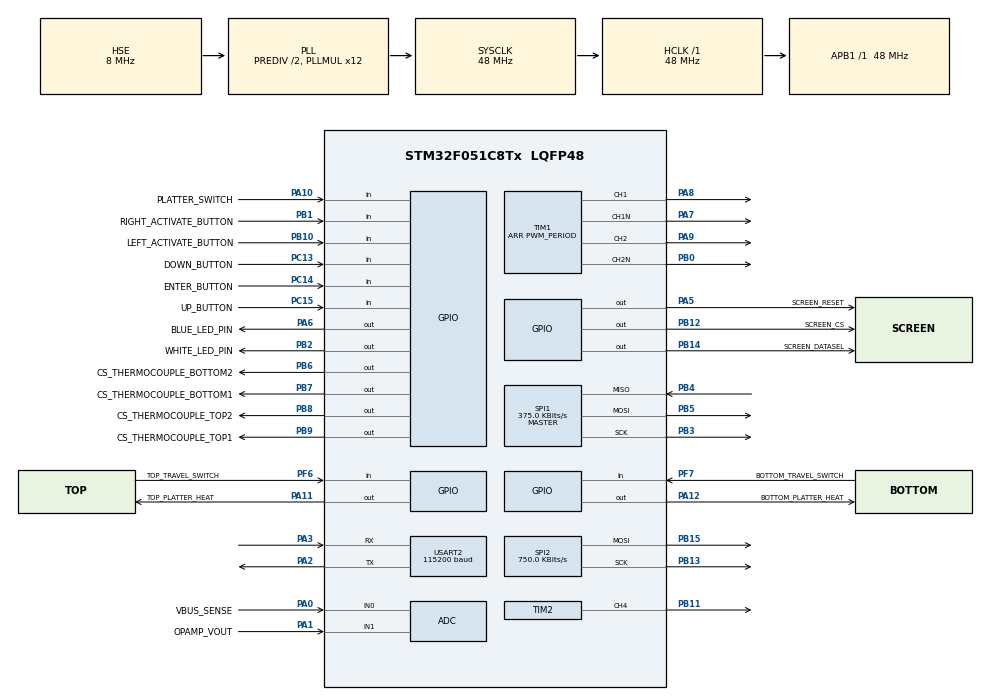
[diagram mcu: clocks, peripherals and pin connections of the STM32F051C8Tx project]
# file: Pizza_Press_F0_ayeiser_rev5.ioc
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ADC.ClockPrescaler=ADC_CLOCK_SYNC_PCLK_DIV4
ADC.DMAContinuousRequests=ENABLE
ADC.DiscontinuousConvMode=DISABLE
ADC.ExternalTrigConv=ADC_EXTERNALTRIGCONV_T1_TRGO
ADC.Overrun=ADC_OVR_DATA_OVERWRITTEN
ADC.SamplingTime=ADC_SAMPLETIME_13CYCLES_5
Dma.ADC.0.Direction=DMA_PERIPH_TO_MEMORY
Dma.ADC.0.Instance=DMA1_Channel1
Dma.ADC.0.MemDataAlignment=DMA_MDATAALIGN_HALFWORD
Dma.ADC.0.MemInc=DMA_MINC_ENABLE
Dma.ADC.0.Mode=DMA_CIRCULAR
Dma.ADC.0.PeriphDataAlignment=DMA_PDATAALIGN_HALFWORD
Dma.ADC.0.PeriphInc=DMA_PINC_DISABLE
Dma.ADC.0.Priority=DMA_PRIORITY_LOW
Dma.Request0=ADC
Dma.Request1=SPI2_TX
Dma.SPI2_TX.1.Direction=DMA_MEMORY_TO_PERIPH
Dma.SPI2_TX.1.Instance=DMA1_Channel5
Dma.SPI2_TX.1.MemDataAlignment=DMA_MDATAALIGN_BYTE
Dma.SPI2_TX.1.MemInc=DMA_MINC_ENABLE
Dma.SPI2_TX.1.Mode=DMA_NORMAL
Dma.SPI2_TX.1.PeriphDataAlignment=DMA_PDATAALIGN_BYTE
Dma.SPI2_TX.1.PeriphInc=DMA_PINC_DISABLE
Dma.SPI2_TX.1.Priority=DMA_PRIORITY_LOW
IWDG.Reload=1500
IWDG.Window=1500
Mcu.Family=STM32F0
Mcu.Name=STM32F051C8Tx
Mcu.Package=LQFP48
Mcu.UserConstants=BUZZER_PERIOD,(CLOCK_FREQ / BUZZER_FREQ);CLOCK_FREQ,48000000;DEAD_TIME,25;PWM_FREQ,1000;PWM_PERIOD,(CLOCK_FREQ / (2*PWM_FREQ));BUZZER_FREQ,2400
NVIC.ADC1_COMP_IRQn=true\:0\:0\:false\:false\:true\:true\:true\:true
NVIC.DMA1_Channel1_IRQn=true\:0\:0\:false\:false\:true\:false\:true\:true
NVIC.DMA1_Channel4_5_IRQn=true\:0\:0\:false\:false\:true\:false\:true\:true
NVIC.SPI1_IRQn=true\:0\:0\:false\:false\:true\:true\:true\:true
NVIC.SPI2_IRQn=true\:0\:0\:false\:false\:true\:true\:true\:true
NVIC.TIM1_BRK_UP_TRG_COM_IRQn=true\:0\:0\:false\:false\:true\:true\:true\:true
NVIC.USART2_IRQn=true\:0\:0\:false\:false\:true\:true\:true\:true
PA0.GPIO_Label=VBUS_SENSE
PA0.Mode=IN0
PA0.Signal=ADC_IN0
PA1.GPIO_Label=OPAMP_VOUT
PA1.Mode=IN1
PA1.Signal=ADC_IN1
PA10.GPIO_Label=PLATTER_SWITCH
PA10.Signal=GPIO_Input
PA11.GPIO_Label=TOP_PLATTER_HEAT
PA11.Signal=GPIO_Output
PA12.GPIO_Label=BOTTOM_PLATTER_HEAT
PA12.Signal=GPIO_Output
PA13.Mode=Serial_Wire
PA13.Signal=SYS_SWDIO
PA14.Mode=Serial_Wire
PA14.Signal=SYS_SWCLK
PA2.Mode=Asynchronous
PA2.Signal=USART2_TX
PA3.Mode=Asynchronous
PA3.Signal=USART2_RX
PA5.GPIO_Label=SCREEN_RESET
PA5.Signal=GPIO_Output
PA6.GPIO_Label=BLUE_LED_PIN
PA6.Signal=GPIO_Output
PA7.Mode=PWM Generation1 CH1 CH1N
PA7.Signal=TIM1_CH1N
PA8.Signal=S_TIM1_CH1
PA9.Signal=S_TIM1_CH2
PB0.Mode=PWM Generation2 CH2 CH2N
PB0.Signal=TIM1_CH2N
PB1.GPIO_Label=RIGHT_ACTIVATE_BUTTON
PB1.Signal=GPIO_Input
PB10.GPIO_Label=LEFT_ACTIVATE_BUTTON
PB10.Signal=GPIO_Input
PB11.Signal=S_TIM2_CH4
PB12.GPIO_Label=SCREEN_CS
PB12.Signal=GPIO_Output
PB13.Mode=TX_Only_Simplex_Unidirect_Master
PB13.Signal=SPI2_SCK
PB14.GPIO_Label=SCREEN_DATASEL
PB14.Signal=GPIO_Output
PB15.Mode=TX_Only_Simplex_Unidirect_Master
PB15.Signal=SPI2_MOSI
PB2.GPIO_Label=WHITE_LED_PIN
PB2.Signal=GPIO_Output
PB3.Mode=Full_Duplex_Master
PB3.Signal=SPI1_SCK
PB4.Mode=Full_Duplex_Master
PB4.Signal=SPI1_MISO
PB5.Mode=Full_Duplex_Master
PB5.Signal=SPI1_MOSI
PB6.GPIO_Label=CS_THERMOCOUPLE_BOTTOM2
PB6.Signal=GPIO_Output
PB7.GPIO_Label=CS_THERMOCOUPLE_BOTTOM1
PB7.Signal=GPIO_Output
PB8.GPIO_Label=CS_THERMOCOUPLE_TOP2
PB8.Signal=GPIO_Output
PB9.GPIO_Label=CS_THERMOCOUPLE_TOP1
PB9.Signal=GPIO_Output
PC13.GPIO_Label=DOWN_BUTTON
PC13.Signal=GPIO_Input
PC14-OSC32_IN.GPIO_Label=ENTER_BUTTON
PC14-OSC32_IN.Signal=GPIO_Input
PC15-OSC32_OUT.GPIO_Label=UP_BUTTON
PC15-OSC32_OUT.Signal=GPIO_Input
PF0-OSC_IN.Mode=HSE-External-Oscillator
PF0-OSC_IN.Signal=RCC_OSC_IN
PF1-OSC_OUT.Mode=HSE-External-Oscillator
PF1-OSC_OUT.Signal=RCC_OSC_OUT
PF6.GPIO_Label=TOP_TRAVEL_SWITCH
PF6.Signal=GPIO_Input
PF7.GPIO_Label=BOTTOM_TRAVEL_SWITCH
PF7.Signal=GPIO_Input
ProjectManager.HeapSize=0x200
ProjectManager.StackSize=0x400
ProjectManager.TargetToolchain=STM32CubeIDE
RCC.AHBFreq_Value=48000000
RCC.APB1Freq_Value=48000000
RCC.APB1TimFreq_Value=48000000
RCC.HCLKFreq_Value=48000000
RCC.PLLDivider=RCC_PREDIV_DIV2
RCC.PLLMUL=RCC_PLL_MUL12
RCC.PLLSourceVirtual=RCC_PLLSOURCE_HSE
RCC.RTCClockSelection=RCC_RTCCLKSOURCE_HSE_DIV32
RCC.SYSCLKFreq_VALUE=48000000
RCC.SYSCLKSource=RCC_SYSCLKSOURCE_PLLCLK
RTC.AsynchPrediv=124
RTC.SynchPrediv=1999
SH.S_TIM1_CH1.0=TIM1_CH1,PWM Generation1 CH1 CH1N
SH.S_TIM1_CH2.0=TIM1_CH2,PWM Generation2 CH2 CH2N
SH.S_TIM2_CH4.0=TIM2_CH4,PWM Generation4 CH4
SPI1.BaudRatePrescaler=SPI_BAUDRATEPRESCALER_128
SPI1.CalculateBaudRate=375.0 KBits/s
SPI1.DataSize=SPI_DATASIZE_8BIT
SPI1.Direction=SPI_DIRECTION_2LINES
SPI1.Mode=SPI_MODE_MASTER
SPI1.VirtualType=VM_MASTER
SPI2.BaudRatePrescaler=SPI_BAUDRATEPRESCALER_64
SPI2.CalculateBaudRate=750.0 KBits/s
SPI2.DataSize=SPI_DATASIZE_8BIT
SPI2.Direction=SPI_DIRECTION_2LINES
SPI2.Mode=SPI_MODE_MASTER
SPI2.VirtualType=VM_MASTER
TIM1.Channel-PWM\ Generation1\ CH1\ CH1N=TIM_CHANNEL_1
TIM1.Channel-PWM\ Generation2\ CH2\ CH2N=TIM_CHANNEL_2
TIM1.CounterMode=TIM_COUNTERMODE_CENTERALIGNED2
TIM1.DeadTime=DEAD_TIME
TIM1.OCMode_PWM-PWM\ Generation1\ CH1\ CH1N=TIM_OCMODE_PWM1
TIM1.OCMode_PWM-PWM\ Generation2\ CH2\ CH2N=TIM_OCMODE_PWM1
TIM1.Period=PWM_PERIOD
TIM1.RepetitionCounter=1
TIM1.TIM_MasterOutputTrigger=TIM_TRGO_UPDATE
TIM2.AutoReloadPreload=TIM_AUTORELOAD_PRELOAD_ENABLE
TIM2.Channel-PWM\ Generation4\ CH4=TIM_CHANNEL_4
TIM2.Period=BUZZER_PERIOD
TIM2.Pulse-PWM\ Generation4\ CH4=BUZZER_PERIOD/2
USART2.BaudRate=115200
USART2.VirtualMode-Asynchronous=VM_ASYNC
VP_IWDG_VS_IWDG.Mode=IWDG_Activate
VP_RTC_VS_RTC_Activate.Mode=RTC_Enabled
board=custom

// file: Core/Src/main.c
/* USER CODE BEGIN Header */
/**
  ******************************************************************************
  * @file           : main.c
  * @brief          : Main program body
  ******************************************************************************
  * @attention
  *
  * Copyright (c) 2022 STMicroelectronics.
  * All rights reserved.
  *
  * This software is licensed under terms that can be found in the LICENSE file
  * in the root directory of this software component.
  * If no LICENSE file comes with this software, it is provided AS-IS.
  *
  ******************************************************************************
  */
/* USER CODE END Header */
#include "main.h"

/* USER CODE BEGIN Includes */

// #include "uart_serial.h"
#include "control.h"
#include "menu.h"
#include "structs.h"

/* USER CODE END Includes */

/* USER CODE BEGIN PD */
#define DEBUG
/* USER CODE END PD */

ADC_HandleTypeDef hadc;
DMA_HandleTypeDef hdma_adc;

IWDG_HandleTypeDef hiwdg;

RTC_HandleTypeDef hrtc;

SPI_HandleTypeDef hspi1;
SPI_HandleTypeDef hspi2;
DMA_HandleTypeDef hdma_spi2_tx;

TIM_HandleTypeDef htim1;
TIM_HandleTypeDef htim2;

UART_HandleTypeDef huart2;

/* USER CODE BEGIN PV */

#define TX_BUF_LEN 256
char uart_tx_buf[TX_BUF_LEN];
uint32_t menu_last_used=0;
bool menu_awake = 0;
uint32_t last_button_press=0;

float shunt_current;
float max_current;
uint16_t adc_output;

/* USER CODE END PV */

void SystemClock_Config(void);
static void MX_GPIO_Init(void);
static void MX_DMA_Init(void);
static void MX_ADC_Init(void);
static void MX_TIM1_Init(void);
static void MX_SPI1_Init(void);
static void MX_IWDG_Init(void);
static void MX_USART2_UART_Init(void);
static void MX_RTC_Init(void);
static void MX_SPI2_Init(void);
static void MX_TIM2_Init(void);

int main(void)
{

  /* MCU Configuration--------------------------------------------------------*/

  /* Reset of all peripherals, Initializes the Flash interface and the Systick. */
  HAL_Init();

  /* Configure the system clock */
  SystemClock_Config();

  /* Initialize all configured peripherals */
  MX_GPIO_Init();
  MX_DMA_Init();
  MX_TIM1_Init();
  MX_SPI1_Init();
  MX_USART2_UART_Init();
  MX_RTC_Init();
  MX_SPI2_Init();
  MX_TIM2_Init();
  /* USER CODE BEGIN 2 */
  MX_ADC_Init();

  HAL_Delay(100);
  HAL_ADCEx_Calibration_Start(&hadc);
  HAL_Delay(100);

  // __HAL_RCC_PWR_CLK_ENABLE(); // duplicated in HAL_Init
  HAL_PWR_EnableBkUpAccess(); //enable RTC backup regs

  HAL_TIM_PWM_Start(&htim1, TIM_CHANNEL_1);
  HAL_TIMEx_PWMN_Start(&htim1, TIM_CHANNEL_1);
  HAL_TIM_PWM_Start(&htim1, TIM_CHANNEL_2);
  HAL_TIMEx_PWMN_Start(&htim1, TIM_CHANNEL_2);

  HAL_TIM_Base_Start_IT(&htim1);
  HAL_ADC_Start_DMA(&hadc, (uint32_t*) &adc_output, 1);

  // pc_uart_init(&huart1);

  HAL_Delay(100);

  press.press_setpoint.enable = true;
  press.thermal_setpoint.enable = true;

  init_menus();

  __WRITE_SCREEN_DC(0);
  __WRITE_SCREEN_CS(0);
  __WRITE_SCREEN_RESET(0);
  __WRITE_WHITE_LED(1);
  HAL_Delay(200);
  __WRITE_SCREEN_RESET(1);
  HAL_Delay(200);

  restore_settings(&(press.config));
  config_to_setpoints(&press);

  SSD1306_InitScreen(&hspi2);
  current_menu->display(current_menu);
  // Set button key press flags to low
  menu_up_button.rising_edge_flag = 0;
  menu_down_button.rising_edge_flag = 0;
  menu_enter_button.rising_edge_flag = 0;

  MX_IWDG_Init();

  PressMode last_press_mode = PRESS_READY;
  /* USER CODE END 2 */

  /* Infinite loop */
  while (1)
  {

    /* USER CODE BEGIN 3 */
	  if (menu_up_button.rising_edge_flag) {
		  menu_up_button.rising_edge_flag = 0;
		  current_menu = menu_up(current_menu);
		  menu_last_used = ticks;
		  last_button_press = ticks;
		  menu_awake = 1;
	  }

	  if (menu_down_button.rising_edge_flag) {
		  menu_down_button.rising_edge_flag = 0;
		  current_menu = menu_down(current_menu);
		  menu_last_used = ticks;
		  last_button_press = ticks;
		  menu_awake = 1;
	  }

	  if (menu_enter_button.rising_edge_flag) {
		  menu_enter_button.rising_edge_flag = 0;
		  current_menu = menu_enter(current_menu);
		  menu_last_used = ticks;
		  last_button_press = ticks;
		  menu_awake = 1;
	  }

	  if (menu_awake) {
		  if (ticks - menu_last_used > MENU_TIMEOUT) {
			  menu_awake = 0;
			  menu_last_used = ticks;
			  menu_return_home();
		  }
		  if (current_menu == &status_menu) {
			  menu_awake = 0;
			  menu_last_used = ticks;
		  }
		  if (current_menu == &debug_menu || current_menu == &lifetime_menu) {
			  menu_awake = 0;
			  menu_last_used = ticks;
		  }
		  if (current_menu == &jog_menu) {
			  menu_awake = 0;
			  menu_last_used = ticks;
		  }
	  } else {
		  if (ticks - menu_last_used > 200) {
			  menu_awake = 0;
			  menu_last_used = ticks;
			  current_menu->display(current_menu);
			  //			  thermocouple_readout();
		  }

		  if (last_press_mode != press.press_state.mode) {
			  last_press_mode = press.press_state.mode;
			  menu_last_used = ticks;
			  current_menu->display(current_menu);
		  }
	  }

	  if (!activate_left_button.state ||
			  !activate_right_button.state) {
		  last_button_press = ticks;
	  }

	  // eco mode timeout
	  if (ticks - last_button_press > ECO_TIMEOUT) {
		  if (press.config.flags & CONFIG_ECO_FLAG) {
			  press.thermal_setpoint.enable = false;
		  }
		  last_button_press = ticks - (ECO_TIMEOUT+1000);
	  } else {
		  press.thermal_setpoint.enable = true;
	  }

#ifdef DEBUG
	  char msg[512];
	  memset(msg, 0, 512);
	  int len = sprintf(msg,
			  "%d C\t %d C\t %d C\t %d C\n\r"
			  "Safe: %d\t Top TR: %d\t Bottom TR: %d\n\r"
			  "Act L: %d\t Act R: %d\n\r"
			  "Motor: %d%%\t Current: %dmA\n\r"
			  "State: %d\n\r"
			  "\n",
			  (int) press.thermal_state.top1 % 1000,
			  (int) press.thermal_state.top2 % 1000,
			  (int) press.thermal_state.bottom1 % 1000,
			  (int) press.thermal_state.bottom2 % 1000,

			  tray_interlock.state,
			  press_top_limit.state,
			  press_bottom_limit.state,

			  activate_left_button.state,
			  activate_right_button.state,

			  (int) (100.0f*press.press_state.motor_setpoint),
			  (int) (shunt_current * 1000.0f),

			  (int) press.press_state.mode
			  );
	  HAL_UART_Transmit(&huart2, (uint8_t*) msg, len, 100);
#endif

	  HAL_Delay(50);
	  HAL_IWDG_Refresh(&hiwdg);

  }
  /* USER CODE END 3 */
}

void SystemClock_Config(void)
{
  RCC_OscInitTypeDef RCC_OscInitStruct = {0};
  RCC_ClkInitTypeDef RCC_ClkInitStruct = {0};
  RCC_PeriphCLKInitTypeDef PeriphClkInit = {0};

  /** Initializes the RCC Oscillators according to the specified parameters
  * in the RCC_OscInitTypeDef structure.
  */
  RCC_OscInitStruct.OscillatorType = RCC_OSCILLATORTYPE_LSI|RCC_OSCILLATORTYPE_HSE;
  RCC_OscInitStruct.HSEState = RCC_HSE_ON;
  RCC_OscInitStruct.LSIState = RCC_LSI_ON;
  RCC_OscInitStruct.PLL.PLLState = RCC_PLL_ON;
  RCC_OscInitStruct.PLL.PLLSource = RCC_PLLSOURCE_HSE;
  RCC_OscInitStruct.PLL.PLLMUL = RCC_PLL_MUL12;
  RCC_OscInitStruct.PLL.PREDIV = RCC_PREDIV_DIV2;
  if (HAL_RCC_OscConfig(&RCC_OscInitStruct) != HAL_OK)
  {
    Error_Handler();
  }

  /** Initializes the CPU, AHB and APB buses clocks
  */
  RCC_ClkInitStruct.ClockType = RCC_CLOCKTYPE_HCLK|RCC_CLOCKTYPE_SYSCLK
                              |RCC_CLOCKTYPE_PCLK1;
  RCC_ClkInitStruct.SYSCLKSource = RCC_SYSCLKSOURCE_PLLCLK;
  RCC_ClkInitStruct.AHBCLKDivider = RCC_SYSCLK_DIV1;
  RCC_ClkInitStruct.APB1CLKDivider = RCC_HCLK_DIV1;

  if (HAL_RCC_ClockConfig(&RCC_ClkInitStruct, FLASH_LATENCY_1) != HAL_OK)
  {
    Error_Handler();
  }
  PeriphClkInit.PeriphClockSelection = RCC_PERIPHCLK_RTC;
  PeriphClkInit.RTCClockSelection = RCC_RTCCLKSOURCE_HSE_DIV32;
  if (HAL_RCCEx_PeriphCLKConfig(&PeriphClkInit) != HAL_OK)
  {
    Error_Handler();
  }
}

static void MX_ADC_Init(void)
{

  ADC_ChannelConfTypeDef sConfig = {0};

  /** Configure the global features of the ADC (Clock, Resolution, Data Alignment and number of conversion)
  */
  hadc.Instance = ADC1;
  hadc.Init.ClockPrescaler = ADC_CLOCK_SYNC_PCLK_DIV4;
  hadc.Init.Resolution = ADC_RESOLUTION_12B;
  hadc.Init.DataAlign = ADC_DATAALIGN_RIGHT;
  hadc.Init.ScanConvMode = ADC_SCAN_DIRECTION_FORWARD;
  hadc.Init.EOCSelection = ADC_EOC_SINGLE_CONV;
  hadc.Init.LowPowerAutoWait = DISABLE;
  hadc.Init.LowPowerAutoPowerOff = DISABLE;
  hadc.Init.ContinuousConvMode = DISABLE;
  hadc.Init.DiscontinuousConvMode = DISABLE;
  hadc.Init.ExternalTrigConv = ADC_EXTERNALTRIGCONV_T1_TRGO;
  hadc.Init.ExternalTrigConvEdge = ADC_EXTERNALTRIGCONVEDGE_RISING;
  hadc.Init.DMAContinuousRequests = ENABLE;
  hadc.Init.Overrun = ADC_OVR_DATA_OVERWRITTEN;
  if (HAL_ADC_Init(&hadc) != HAL_OK)
  {
    Error_Handler();
  }

  /** Configure for the selected ADC regular channel to be converted.
  */
  sConfig.Channel = ADC_CHANNEL_0;
  sConfig.Rank = ADC_RANK_CHANNEL_NUMBER;
  sConfig.SamplingTime = ADC_SAMPLETIME_13CYCLES_5;
  if (HAL_ADC_ConfigChannel(&hadc, &sConfig) != HAL_OK)
  {
    Error_Handler();
  }

  /** Configure for the selected ADC regular channel to be converted.
  */
  sConfig.Channel = ADC_CHANNEL_1;
  if (HAL_ADC_ConfigChannel(&hadc, &sConfig) != HAL_OK)
  {
    Error_Handler();
  }

}

static void MX_IWDG_Init(void)
{

  hiwdg.Instance = IWDG;
  hiwdg.Init.Prescaler = IWDG_PRESCALER_4;
  hiwdg.Init.Window = 1500;
  hiwdg.Init.Reload = 1500;
  if (HAL_IWDG_Init(&hiwdg) != HAL_OK)
  {
    Error_Handler();
  }

}

static void MX_RTC_Init(void)
{

  /** Initialize RTC Only
  */
  hrtc.Instance = RTC;
  hrtc.Init.HourFormat = RTC_HOURFORMAT_24;
  hrtc.Init.AsynchPrediv = 124;
  hrtc.Init.SynchPrediv = 1999;
  hrtc.Init.OutPut = RTC_OUTPUT_DISABLE;
  hrtc.Init.OutPutPolarity = RTC_OUTPUT_POLARITY_HIGH;
  hrtc.Init.OutPutType = RTC_OUTPUT_TYPE_OPENDRAIN;
  if (HAL_RTC_Init(&hrtc) != HAL_OK)
  {
    Error_Handler();
  }

}

static void MX_SPI1_Init(void)
{

  /* SPI1 parameter configuration*/
  hspi1.Instance = SPI1;
  hspi1.Init.Mode = SPI_MODE_MASTER;
  hspi1.Init.Direction = SPI_DIRECTION_2LINES;
  hspi1.Init.DataSize = SPI_DATASIZE_8BIT;
  hspi1.Init.CLKPolarity = SPI_POLARITY_LOW;
  hspi1.Init.CLKPhase = SPI_PHASE_1EDGE;
  hspi1.Init.NSS = SPI_NSS_SOFT;
  hspi1.Init.BaudRatePrescaler = SPI_BAUDRATEPRESCALER_128;
  hspi1.Init.FirstBit = SPI_FIRSTBIT_MSB;
  hspi1.Init.TIMode = SPI_TIMODE_DISABLE;
  hspi1.Init.CRCCalculation = SPI_CRCCALCULATION_DISABLE;
  hspi1.Init.CRCPolynomial = 7;
  hspi1.Init.CRCLength = SPI_CRC_LENGTH_DATASIZE;
  hspi1.Init.NSSPMode = SPI_NSS_PULSE_ENABLE;
  if (HAL_SPI_Init(&hspi1) != HAL_OK)
  {
    Error_Handler();
  }

}

static void MX_SPI2_Init(void)
{

  /* SPI2 parameter configuration*/
  hspi2.Instance = SPI2;
  hspi2.Init.Mode = SPI_MODE_MASTER;
  hspi2.Init.Direction = SPI_DIRECTION_2LINES;
  hspi2.Init.DataSize = SPI_DATASIZE_8BIT;
  hspi2.Init.CLKPolarity = SPI_POLARITY_LOW;
  hspi2.Init.CLKPhase = SPI_PHASE_1EDGE;
  hspi2.Init.NSS = SPI_NSS_SOFT;
  hspi2.Init.BaudRatePrescaler = SPI_BAUDRATEPRESCALER_64;
  hspi2.Init.FirstBit = SPI_FIRSTBIT_MSB;
  hspi2.Init.TIMode = SPI_TIMODE_DISABLE;
  hspi2.Init.CRCCalculation = SPI_CRCCALCULATION_DISABLE;
  hspi2.Init.CRCPolynomial = 7;
  hspi2.Init.CRCLength = SPI_CRC_LENGTH_DATASIZE;
  hspi2.Init.NSSPMode = SPI_NSS_PULSE_ENABLE;
  if (HAL_SPI_Init(&hspi2) != HAL_OK)
  {
    Error_Handler();
  }

}

static void MX_TIM1_Init(void)
{

  TIM_MasterConfigTypeDef sMasterConfig = {0};
  TIM_OC_InitTypeDef sConfigOC = {0};
  TIM_BreakDeadTimeConfigTypeDef sBreakDeadTimeConfig = {0};

  htim1.Instance = TIM1;
  htim1.Init.Prescaler = 0;
  htim1.Init.CounterMode = TIM_COUNTERMODE_CENTERALIGNED2;
  htim1.Init.Period = PWM_PERIOD;
  htim1.Init.ClockDivision = TIM_CLOCKDIVISION_DIV1;
  htim1.Init.RepetitionCounter = 1;
  htim1.Init.AutoReloadPreload = TIM_AUTORELOAD_PRELOAD_DISABLE;
  if (HAL_TIM_PWM_Init(&htim1) != HAL_OK)
  {
    Error_Handler();
  }
  sMasterConfig.MasterOutputTrigger = TIM_TRGO_UPDATE;
  sMasterConfig.MasterSlaveMode = TIM_MASTERSLAVEMODE_DISABLE;
  if (HAL_TIMEx_MasterConfigSynchronization(&htim1, &sMasterConfig) != HAL_OK)
  {
    Error_Handler();
  }
  sConfigOC.OCMode = TIM_OCMODE_PWM1;
  sConfigOC.Pulse = 0;
  sConfigOC.OCPolarity = TIM_OCPOLARITY_HIGH;
  sConfigOC.OCNPolarity = TIM_OCNPOLARITY_HIGH;
  sConfigOC.OCFastMode = TIM_OCFAST_DISABLE;
  sConfigOC.OCIdleState = TIM_OCIDLESTATE_RESET;
  sConfigOC.OCNIdleState = TIM_OCNIDLESTATE_RESET;
  if (HAL_TIM_PWM_ConfigChannel(&htim1, &sConfigOC, TIM_CHANNEL_1) != HAL_OK)
  {
    Error_Handler();
  }
  if (HAL_TIM_PWM_ConfigChannel(&htim1, &sConfigOC, TIM_CHANNEL_2) != HAL_OK)
  {
    Error_Handler();
  }
  sBreakDeadTimeConfig.OffStateRunMode = TIM_OSSR_DISABLE;
  sBreakDeadTimeConfig.OffStateIDLEMode = TIM_OSSI_DISABLE;
  sBreakDeadTimeConfig.LockLevel = TIM_LOCKLEVEL_OFF;
  sBreakDeadTimeConfig.DeadTime = DEAD_TIME;
  sBreakDeadTimeConfig.BreakState = TIM_BREAK_DISABLE;
  sBreakDeadTimeConfig.BreakPolarity = TIM_BREAKPOLARITY_HIGH;
  sBreakDeadTimeConfig.AutomaticOutput = TIM_AUTOMATICOUTPUT_DISABLE;
  if (HAL_TIMEx_ConfigBreakDeadTime(&htim1, &sBreakDeadTimeConfig) != HAL_OK)
  {
    Error_Handler();
  }
  HAL_TIM_MspPostInit(&htim1);

}

static void MX_TIM2_Init(void)
{

  TIM_MasterConfigTypeDef sMasterConfig = {0};
  TIM_OC_InitTypeDef sConfigOC = {0};

  htim2.Instance = TIM2;
  htim2.Init.Prescaler = 0;
  htim2.Init.CounterMode = TIM_COUNTERMODE_UP;
  htim2.Init.Period = BUZZER_PERIOD;
  htim2.Init.ClockDivision = TIM_CLOCKDIVISION_DIV1;
  htim2.Init.AutoReloadPreload = TIM_AUTORELOAD_PRELOAD_ENABLE;
  if (HAL_TIM_PWM_Init(&htim2) != HAL_OK)
  {
    Error_Handler();
  }
  sMasterConfig.MasterOutputTrigger = TIM_TRGO_RESET;
  sMasterConfig.MasterSlaveMode = TIM_MASTERSLAVEMODE_DISABLE;
  if (HAL_TIMEx_MasterConfigSynchronization(&htim2, &sMasterConfig) != HAL_OK)
  {
    Error_Handler();
  }
  sConfigOC.OCMode = TIM_OCMODE_PWM1;
  sConfigOC.Pulse = BUZZER_PERIOD/2;
  sConfigOC.OCPolarity = TIM_OCPOLARITY_HIGH;
  sConfigOC.OCFastMode = TIM_OCFAST_DISABLE;
  if (HAL_TIM_PWM_ConfigChannel(&htim2, &sConfigOC, TIM_CHANNEL_4) != HAL_OK)
  {
    Error_Handler();
  }
  HAL_TIM_MspPostInit(&htim2);

}

static void MX_USART2_UART_Init(void)
{

  huart2.Instance = USART2;
  huart2.Init.BaudRate = 115200;
  huart2.Init.WordLength = UART_WORDLENGTH_8B;
  huart2.Init.StopBits = UART_STOPBITS_1;
  huart2.Init.Parity = UART_PARITY_NONE;
  huart2.Init.Mode = UART_MODE_TX_RX;
  huart2.Init.HwFlowCtl = UART_HWCONTROL_NONE;
  huart2.Init.OverSampling = UART_OVERSAMPLING_16;
  huart2.Init.OneBitSampling = UART_ONE_BIT_SAMPLE_DISABLE;
  huart2.AdvancedInit.AdvFeatureInit = UART_ADVFEATURE_NO_INIT;
  if (HAL_UART_Init(&huart2) != HAL_OK)
  {
    Error_Handler();
  }

}

static void MX_DMA_Init(void)
{

  /* DMA controller clock enable */
  __HAL_RCC_DMA1_CLK_ENABLE();

  /* DMA interrupt init */
  /* DMA1_Channel1_IRQn interrupt configuration */
  HAL_NVIC_SetPriority(DMA1_Channel1_IRQn, 0, 0);
  HAL_NVIC_EnableIRQ(DMA1_Channel1_IRQn);
  /* DMA1_Channel4_5_IRQn interrupt configuration */
  HAL_NVIC_SetPriority(DMA1_Channel4_5_IRQn, 0, 0);
  HAL_NVIC_EnableIRQ(DMA1_Channel4_5_IRQn);

}

static void MX_GPIO_Init(void)
{
  GPIO_InitTypeDef GPIO_InitStruct = {0};

  /* GPIO Ports Clock Enable */
  __HAL_RCC_GPIOC_CLK_ENABLE();
  __HAL_RCC_GPIOF_CLK_ENABLE();
  __HAL_RCC_GPIOA_CLK_ENABLE();
  __HAL_RCC_GPIOB_CLK_ENABLE();

  /*Configure GPIO pin Output Level */
  HAL_GPIO_WritePin(GPIOA, SCREEN_RESET_Pin|BLUE_LED_PIN_Pin|TOP_PLATTER_HEAT_Pin|BOTTOM_PLATTER_HEAT_Pin, GPIO_PIN_RESET);

  /*Configure GPIO pin Output Level */
  HAL_GPIO_WritePin(GPIOB, WHITE_LED_PIN_Pin|SCREEN_CS_Pin|SCREEN_DATASEL_Pin|CS_THERMOCOUPLE_BOTTOM2_Pin
                          |CS_THERMOCOUPLE_BOTTOM1_Pin|CS_THERMOCOUPLE_TOP2_Pin|CS_THERMOCOUPLE_TOP1_Pin, GPIO_PIN_RESET);

  /*Configure GPIO pins : DOWN_BUTTON_Pin ENTER_BUTTON_Pin UP_BUTTON_Pin */
  GPIO_InitStruct.Pin = DOWN_BUTTON_Pin|ENTER_BUTTON_Pin|UP_BUTTON_Pin;
  GPIO_InitStruct.Mode = GPIO_MODE_INPUT;
  GPIO_InitStruct.Pull = GPIO_NOPULL;
  HAL_GPIO_Init(GPIOC, &GPIO_InitStruct);

  /*Configure GPIO pins : SCREEN_RESET_Pin BLUE_LED_PIN_Pin TOP_PLATTER_HEAT_Pin BOTTOM_PLATTER_HEAT_Pin */
  GPIO_InitStruct.Pin = SCREEN_RESET_Pin|BLUE_LED_PIN_Pin|TOP_PLATTER_HEAT_Pin|BOTTOM_PLATTER_HEAT_Pin;
  GPIO_InitStruct.Mode = GPIO_MODE_OUTPUT_PP;
  GPIO_InitStruct.Pull = GPIO_NOPULL;
  GPIO_InitStruct.Speed = GPIO_SPEED_FREQ_LOW;
  HAL_GPIO_Init(GPIOA, &GPIO_InitStruct);

  /*Configure GPIO pins : RIGHT_ACTIVATE_BUTTON_Pin LEFT_ACTIVATE_BUTTON_Pin */
  GPIO_InitStruct.Pin = RIGHT_ACTIVATE_BUTTON_Pin|LEFT_ACTIVATE_BUTTON_Pin;
  GPIO_InitStruct.Mode = GPIO_MODE_INPUT;
  GPIO_InitStruct.Pull = GPIO_NOPULL;
  HAL_GPIO_Init(GPIOB, &GPIO_InitStruct);

  /*Configure GPIO pins : WHITE_LED_PIN_Pin SCREEN_CS_Pin SCREEN_DATASEL_Pin CS_THERMOCOUPLE_BOTTOM2_Pin
                           CS_THERMOCOUPLE_BOTTOM1_Pin CS_THERMOCOUPLE_TOP2_Pin CS_THERMOCOUPLE_TOP1_Pin */
  GPIO_InitStruct.Pin = WHITE_LED_PIN_Pin|SCREEN_CS_Pin|SCREEN_DATASEL_Pin|CS_THERMOCOUPLE_BOTTOM2_Pin
                          |CS_THERMOCOUPLE_BOTTOM1_Pin|CS_THERMOCOUPLE_TOP2_Pin|CS_THERMOCOUPLE_TOP1_Pin;
  GPIO_InitStruct.Mode = GPIO_MODE_OUTPUT_PP;
  GPIO_InitStruct.Pull = GPIO_NOPULL;
  GPIO_InitStruct.Speed = GPIO_SPEED_FREQ_LOW;
  HAL_GPIO_Init(GPIOB, &GPIO_InitStruct);

  /*Configure GPIO pin : PLATTER_SWITCH_Pin */
  GPIO_InitStruct.Pin = PLATTER_SWITCH_Pin;
  GPIO_InitStruct.Mode = GPIO_MODE_INPUT;
  GPIO_InitStruct.Pull = GPIO_NOPULL;
  HAL_GPIO_Init(PLATTER_SWITCH_GPIO_Port, &GPIO_InitStruct);

  /*Configure GPIO pins : TOP_TRAVEL_SWITCH_Pin BOTTOM_TRAVEL_SWITCH_Pin */
  GPIO_InitStruct.Pin = TOP_TRAVEL_SWITCH_Pin|BOTTOM_TRAVEL_SWITCH_Pin;
  GPIO_InitStruct.Mode = GPIO_MODE_INPUT;
  GPIO_InitStruct.Pull = GPIO_NOPULL;
  HAL_GPIO_Init(GPIOF, &GPIO_InitStruct);

}

void Error_Handler(void)
{
  __disable_irq();
  while (1)
  {
  }
}
